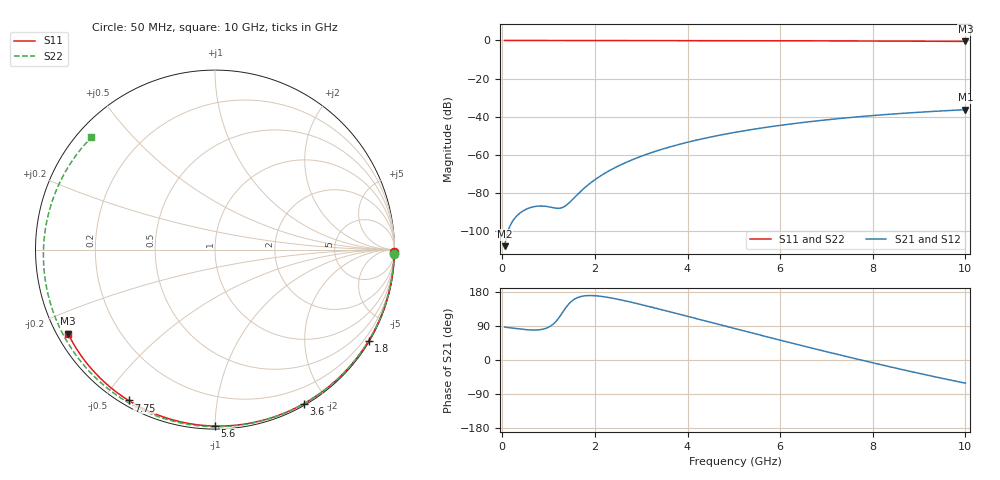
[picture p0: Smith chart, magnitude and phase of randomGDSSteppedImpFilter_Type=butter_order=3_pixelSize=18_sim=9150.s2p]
! freq	dB(S11)	phase(S11)	dB(S12)	phase(S12)
!  dB(S21)	phase(S21)	dB(S22)	phase(S22)
!S-par simulation data
#  GHz  S  DB  R 50
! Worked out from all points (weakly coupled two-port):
!   200 points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, 50 MHz to 10 GHz, reference 50 ohm
!   highest |S21| = -36.28 dB at 10 GHz (marker M1); lowest = -107.8 dB at 50 MHz (marker M2)
!   lowest |S11| = -0.5 dB at 10 GHz (marker M3), VSWR 34.28, Z = 1.56 - j13.3 ohm
!   |S11| at or under -10 dB: nowhere
!   |S22| runs from -0.6 to 0.0 dB; largest |S21 - S12| = 0
!   S11 on the Smith chart (normalised r, x): 50 MHz: open; 1.8 GHz: 0.03, -3.64; 3.6 GHz: 0.02, -1.73; 5.6 GHz: 0.02, -1.00; 7.75 GHz: 0.02, -0.58; 10 GHz: 0.03, -0.27
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0.05  -0.00 -0.8  -107.80 87.0  -107.80 87.0  -0.01 -1.3
0.4  -0.01 -6.9  -90.11 81.4  -90.11 81.4  -0.02 -10.8
0.8  -0.02 -13.8  -86.78 79.8  -86.78 79.8  -0.03 -21.5
1.2  -0.03 -20.6  -87.98 107.8  -87.98 107.8  -0.04 -32.0
1.65  -0.04 -28.2  -80.04 165.8  -80.04 165.8  -0.06 -43.7
1.75  -0.04 -29.9  -77.78 168.9  -77.78 168.9  -0.06 -46.2
1.8  -0.04 -30.8  -76.73 169.6  -76.73 169.6  -0.06 -47.5
2.1  -0.05 -35.7  -71.32 168.5  -71.32 168.5  -0.07 -55.0
2.45  -0.05 -41.5  -66.46 161.4  -66.46 161.4  -0.08 -63.6
2.9  -0.06 -48.8  -61.61 149.2  -61.61 149.2  -0.09 -74.4
3.4  -0.07 -56.8  -57.38 134.1  -57.38 134.1  -0.11 -85.9
3.6  -0.08 -59.9  -55.93 127.8  -55.93 127.8  -0.12 -90.5
4.3  -0.10 -70.7  -51.64 105.7  -51.64 105.7  -0.14 -105.8
5.05  -0.13 -82.0  -48.05 81.9  -48.05 81.9  -0.18 -121.5
5.6  -0.15 -90.0  -45.87 64.7  -45.87 64.7  -0.21 -132.6
6.15  -0.17 -97.8  -44.01 47.7  -44.01 47.7  -0.24 -143.5
6.7  -0.20 -105.5  -42.39 30.9  -42.39 30.9  -0.28 -154.3
7.25  -0.24 -113.0  -40.98 14.5  -40.98 14.5  -0.33 -165.1
7.75  -0.28 -119.8  -39.86 -0.2  -39.86 -0.2  -0.37 -174.9
8.35  -0.33 -127.9  -38.69 -17.3  -38.69 -17.3  -0.43 173.1
9.2  -0.41 -139.3  -37.32 -40.6  -37.32 -40.6  -0.52 155.4
10  -0.51 -150.2  -36.28 -61.0  -36.28 -61.0  -0.63 137.7
